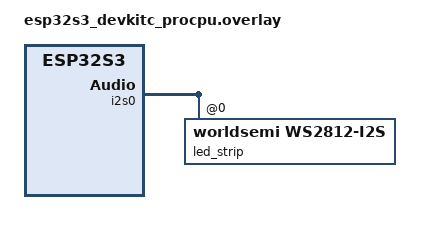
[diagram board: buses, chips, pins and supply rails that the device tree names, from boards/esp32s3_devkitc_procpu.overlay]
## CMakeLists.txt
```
# SPDX-License-Identifier: Apache-2.0

cmake_minimum_required(VERSION 3.20.0)

find_package(Zephyr REQUIRED HINTS $ENV{ZEPHYR_BASE})
project(RGB)

target_sources(app PRIVATE src/main.c)
```

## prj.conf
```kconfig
CONFIG_LED_STRIP=y
CONFIG_I2S=y
CONFIG_PWM=y
```

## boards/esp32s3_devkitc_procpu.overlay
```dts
#include <zephyr/dt-bindings/led/led.h>

/ {
	aliases {
		led-rgb = &led_strip;
	};
};

i2s_led: &i2s0 {
	status = "okay";
	pinctrl-0 = <&i2s0_pinconf>;
	led_strip: ws2812@0 {
		compatible = "worldsemi,ws2812-i2s";
		reg = <0>;
		chain-length = <1>;
		color-mapping = <LED_COLOR_ID_GREEN
				 LED_COLOR_ID_RED
				 LED_COLOR_ID_BLUE>;
		reset-delay = <500>;
	};
};

&dma {
	status = "okay";
};

&pinctrl {
	i2s0_pinconf: i2s0_pinconf {
		group1 {
			pinmux = <I2S0_O_SD_GPIO38>;
			output-enable;
		};
	};
};
```

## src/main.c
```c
#include <string.h>
#include <zephyr/kernel.h>
#include <zephyr/drivers/led_strip.h>
#include <zephyr/device.h>

#define RGB_NODE	DT_ALIAS(led_rgb)



static const struct device *const rgb = DEVICE_DT_GET(RGB_NODE);



int main(void)
{
	struct led_rgb color = {0, 0, 0};
	int ret;

	if (device_is_ready(rgb)) {
		printk("Found LED strip device %s", rgb->name);
	} else {
		printk("LED strip device %s is not ready", rgb->name);
		return 0;
	}
	while (1) {
		color.g=0;
		color.r=50;
		ret = led_strip_update_rgb(rgb, &color, 1);

		printk("RED");
		k_msleep(500);
		color.r=0;
		color.b=50;
		ret = led_strip_update_rgb(rgb, &color, 1);
		printk("BLUE");
		k_msleep(500);
		
		color.b=0;
		color.g=50;
		ret = led_strip_update_rgb(rgb, &color, 1);
		printk("GREEN");
		k_msleep(500);
			
		
	}

	return 0;
}
```
